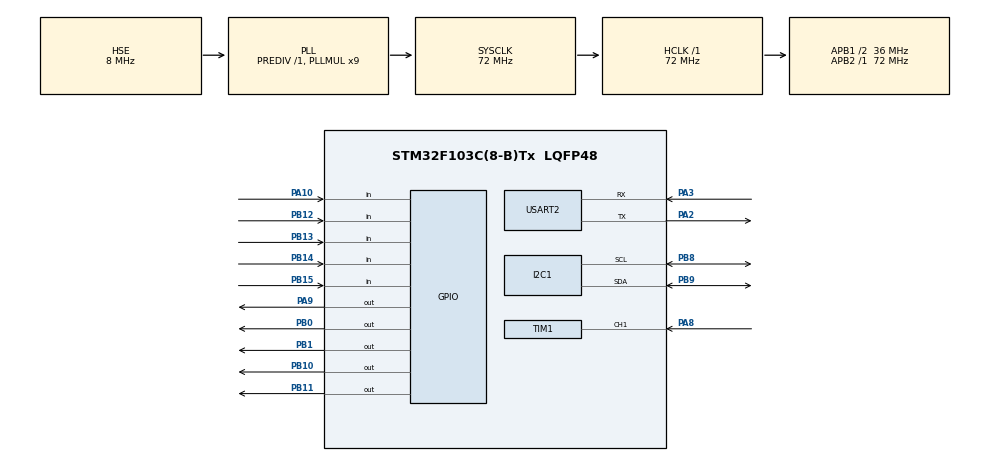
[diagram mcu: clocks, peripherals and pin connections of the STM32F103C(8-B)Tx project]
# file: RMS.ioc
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FREERTOS.INCLUDE_vTaskDelayUntil=1
FREERTOS.INCLUDE_xQueueGetMutexHolder=1
FREERTOS.Tasks01=HCSR04_Sensor,2,128,HCSR04,Default,NULL,Dynamic,NULL,NULL;Sound_Sensor,1,128,Read_SoundSS,Default,NULL,Dynamic,NULL,NULL;Task_Keyboard,-2,128,Keyboard,Default,NULL,Dynamic,NULL,NULL;Task_Display_LC,-1,128,Display_LCD,Default,NULL,Dynamic,NULL,NULL;taskUART,0,128,UART,Default,NULL,Dynamic,NULL,NULL
FREERTOS.configTOTAL_HEAP_SIZE=5500
Mcu.Family=STM32F1
Mcu.Name=STM32F103C(8-B)Tx
Mcu.Package=LQFP48
NVIC.PriorityGroup=NVIC_PRIORITYGROUP_4
NVIC.TIM1_CC_IRQn=true\:0\:0\:false\:false\:true\:false\:true\:true
NVIC.TIM1_UP_IRQn=true\:0\:0\:false\:false\:true\:false\:true\:true
NVIC.TIM4_IRQn=true\:0\:0\:false\:false\:true\:false\:false\:true
NVIC.TimeBase=TIM4_IRQn
NVIC.TimeBaseIP=TIM4
NVIC.USART2_IRQn=true\:1\:0\:true\:false\:true\:false\:true\:true
PA10.GPIO_PuPd=GPIO_PULLUP
PA10.Signal=GPIO_Input
PA13.Mode=Serial_Wire
PA13.Signal=SYS_JTMS-SWDIO
PA14.Mode=Serial_Wire
PA14.Signal=SYS_JTCK-SWCLK
PA2.Mode=Asynchronous
PA2.Signal=USART2_TX
PA3.Mode=Asynchronous
PA3.Signal=USART2_RX
PA8.Signal=S_TIM1_CH1
PA9.Signal=GPIO_Output
PB0.Signal=GPIO_Output
PB1.Signal=GPIO_Output
PB10.Signal=GPIO_Output
PB11.Signal=GPIO_Output
PB12.GPIO_PuPd=GPIO_PULLUP
PB12.Signal=GPIO_Input
PB13.GPIO_PuPd=GPIO_PULLUP
PB13.Signal=GPIO_Input
PB14.GPIO_PuPd=GPIO_PULLUP
PB14.Signal=GPIO_Input
PB15.GPIO_PuPd=GPIO_PULLUP
PB15.Signal=GPIO_Input
PB8.Mode=I2C
PB8.Signal=I2C1_SCL
PB9.Mode=I2C
PB9.Signal=I2C1_SDA
PD0-OSC_IN.Mode=HSE-External-Oscillator
PD0-OSC_IN.Signal=RCC_OSC_IN
PD1-OSC_OUT.Mode=HSE-External-Oscillator
PD1-OSC_OUT.Signal=RCC_OSC_OUT
ProjectManager.HeapSize=0x200
ProjectManager.StackSize=0x400
ProjectManager.TargetToolchain=MDK-ARM V5.27
RCC.AHBFreq_Value=72000000
RCC.APB1CLKDivider=RCC_HCLK_DIV2
RCC.APB1Freq_Value=36000000
RCC.APB1TimFreq_Value=72000000
RCC.APB2Freq_Value=72000000
RCC.APB2TimFreq_Value=72000000
RCC.HCLKFreq_Value=72000000
RCC.PLLMUL=RCC_PLL_MUL9
RCC.PLLSourceVirtual=RCC_PLLSOURCE_HSE
RCC.SYSCLKFreq_VALUE=72000000
RCC.SYSCLKSource=RCC_SYSCLKSOURCE_PLLCLK
RCC.USBFreq_Value=72000000
SH.S_TIM1_CH1.0=TIM1_CH1,Input_Capture1_from_TI1
TIM1.Channel-Input_Capture1_from_TI1=TIM_CHANNEL_1
TIM1.Prescaler=71
USART2.VirtualMode=VM_ASYNC
VP_FREERTOS_VS_CMSIS_V1.Mode=CMSIS_V1
VP_SYS_VS_tim4.Mode=TIM4
VP_TIM1_VS_ClockSourceINT.Mode=Internal
board=custom

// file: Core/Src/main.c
/* USER CODE BEGIN Header */
/**
  ******************************************************************************
  * @file           : main.c
  * @brief          : Main program body
  ******************************************************************************
  * @attention
  *
  * <h2><center>&copy; Copyright (c) 2025 STMicroelectronics.
  * All rights reserved.</center></h2>
  *
  * This software component is licensed by ST under Ultimate Liberty license
  * SLA0044, the "License"; You may not use this file except in compliance with
  * the License. You may obtain a copy of the License at:
  *                             www.st.com/SLA0044
  *
  ******************************************************************************
  */
/* USER CODE END Header */
#include "main.h"
#include "cmsis_os.h"

/* USER CODE BEGIN Includes */
#include "stdio.h"
#include "sr04.h"
#include "FreeRTOS.h"
#include "task.h"
#include "queue.h"
#include "semphr.h"
#include "lcd_i2cModule.h"
#include "keypad_4x4.h"
#include "string.h"
#include "uart.h"

/* USER CODE END Includes */

/* USER CODE BEGIN PD */
#define HCSR04_PERIOD_MS 50
#define SOUNDSS_PERIOD_MS 50
#define KEYBOARD_PERIOD_MS 500
#define LCD_PERIOD_MS 250
#define UART_PERIOD_MS 50

#define HCSR04_DEADLINE_MS 50
#define SOUNDSS_DEADLINE_MS 50
#define KEYBOARD_DEADLINE_MS 500
#define LCD_DEADLINE_MS 250
#define UART_DEADLINE_MS 50

#define HCSR04_EXCUTION_MS 3
#define SOUNDSS_EXCUTION_MS 1
#define KEYBOARD_EXCUTION_MS 50
#define LCD_EXCUTION_MS 15
#define UART_EXCUTION_MS 10

/* USER CODE END PD */

I2C_HandleTypeDef hi2c1;

TIM_HandleTypeDef htim1;

UART_HandleTypeDef huart2;

osThreadId HCSR04_SensorHandle;
osThreadId Sound_SensorHandle;
osThreadId Task_KeyboardHandle;
osThreadId Task_Display_LCHandle;
osThreadId taskUARTHandle;
/* USER CODE BEGIN PV */
sr04_t sr04;

float khoang_cach = 0;

uint8_t sound = 0;
uint8_t check = 0;

uint32_t a = 0;
uint32_t b = 0;
uint32_t c = 0;
uint32_t d = 0;
uint32_t e = 0;

uint32_t HCSR04_Period_ms = 50;
uint32_t SoundSS_Period_ms = 50;
uint32_t Keypad_Period_ms = 500;
uint32_t LCD_Period_ms = 250;
uint32_t UART_Period_ms = 50;

uint8_t UART_Recv[5];

QueueHandle_t QueueHCSR04Handle; // khoi tao mot Queue (tuong tu de khoi tao mot task thi ta co lenh: TaskHandle_t)
QueueHandle_t QueueSoundSSHandle;
QueueHandle_t QueueKeyboardHandle;
QueueHandle_t QueueUARTHandle;
/* USER CODE END PV */

void SystemClock_Config(void);
static void MX_GPIO_Init(void);
static void MX_I2C1_Init(void);
static void MX_TIM1_Init(void);
static void MX_USART2_UART_Init(void);
void HCSR04(void const * argument);
void Read_SoundSS(void const * argument);
void Keyboard(void const * argument);
void Display_LCD(void const * argument);
void UART(void const * argument);

int main(void)
{

  /* MCU Configuration--------------------------------------------------------*/

  /* Reset of all peripherals, Initializes the Flash interface and the Systick. */
  HAL_Init();

  /* Configure the system clock */
  SystemClock_Config();

  /* Initialize all configured peripherals */
  MX_GPIO_Init();
  MX_I2C1_Init();
  MX_TIM1_Init();
  MX_USART2_UART_Init();
  /* USER CODE BEGIN 2 */

	//Init HCSR04
  sr04.trig_port = GPIOA;
  sr04.trig_pin = GPIO_PIN_9;
  sr04.echo_htim = &htim1;
  sr04.echo_channel = TIM_CHANNEL_1;
  sr04_init(&sr04);

	  //Init lcd
		LCD_i2cDeviceCheck();
		LCD_Init();
		LCD_BackLight(LCD_BL_ON);

		// Init Keypad
		keypad_init();

		HAL_UART_Receive_IT(&huart2, UART_Recv, sizeof(UART_Recv) - 1);
  /* USER CODE END 2 */

  /* USER CODE BEGIN RTOS_QUEUES */
  /* add queues, ... */
	QueueHCSR04Handle = xQueueCreate(10, sizeof(uint32_t)*10); // tao mot queue moi
	QueueSoundSSHandle = xQueueCreate(10, sizeof(char) * 10);
	QueueKeyboardHandle = xQueueCreate(10, sizeof(char) * 10);
	QueueUARTHandle = xQueueCreate(10, sizeof(uint32_t) * 10);

  /* USER CODE END RTOS_QUEUES */

  /* Create the thread(s) */
  /* definition and creation of HCSR04_Sensor */
  osThreadDef(HCSR04_Sensor, HCSR04, osPriorityHigh, 0, 128);
  HCSR04_SensorHandle = osThreadCreate(osThread(HCSR04_Sensor), NULL);

  /* definition and creation of Sound_Sensor */
  osThreadDef(Sound_Sensor, Read_SoundSS, osPriorityAboveNormal, 0, 128);
  Sound_SensorHandle = osThreadCreate(osThread(Sound_Sensor), NULL);

  /* definition and creation of Task_Keyboard */
  osThreadDef(Task_Keyboard, Keyboard, osPriorityLow, 0, 128);
  Task_KeyboardHandle = osThreadCreate(osThread(Task_Keyboard), NULL);

  /* definition and creation of Task_Display_LC */
  osThreadDef(Task_Display_LC, Display_LCD, osPriorityBelowNormal, 0, 128);
  Task_Display_LCHandle = osThreadCreate(osThread(Task_Display_LC), NULL);

  /* definition and creation of taskUART */
  osThreadDef(taskUART, UART, osPriorityNormal, 0, 128);
  taskUARTHandle = osThreadCreate(osThread(taskUART), NULL);

  /* Start scheduler */
  osKernelStart();

  /* We should never get here as control is now taken by the scheduler */
  /* Infinite loop */
  while (1)
  {

  }
}

void SystemClock_Config(void)
{
  RCC_OscInitTypeDef RCC_OscInitStruct = {0};
  RCC_ClkInitTypeDef RCC_ClkInitStruct = {0};

  /** Initializes the RCC Oscillators according to the specified parameters
  * in the RCC_OscInitTypeDef structure.
  */
  RCC_OscInitStruct.OscillatorType = RCC_OSCILLATORTYPE_HSE;
  RCC_OscInitStruct.HSEState = RCC_HSE_ON;
  RCC_OscInitStruct.HSEPredivValue = RCC_HSE_PREDIV_DIV1;
  RCC_OscInitStruct.HSIState = RCC_HSI_ON;
  RCC_OscInitStruct.PLL.PLLState = RCC_PLL_ON;
  RCC_OscInitStruct.PLL.PLLSource = RCC_PLLSOURCE_HSE;
  RCC_OscInitStruct.PLL.PLLMUL = RCC_PLL_MUL9;
  if (HAL_RCC_OscConfig(&RCC_OscInitStruct) != HAL_OK)
  {
    Error_Handler();
  }
  /** Initializes the CPU, AHB and APB buses clocks
  */
  RCC_ClkInitStruct.ClockType = RCC_CLOCKTYPE_HCLK|RCC_CLOCKTYPE_SYSCLK
                              |RCC_CLOCKTYPE_PCLK1|RCC_CLOCKTYPE_PCLK2;
  RCC_ClkInitStruct.SYSCLKSource = RCC_SYSCLKSOURCE_PLLCLK;
  RCC_ClkInitStruct.AHBCLKDivider = RCC_SYSCLK_DIV1;
  RCC_ClkInitStruct.APB1CLKDivider = RCC_HCLK_DIV2;
  RCC_ClkInitStruct.APB2CLKDivider = RCC_HCLK_DIV1;

  if (HAL_RCC_ClockConfig(&RCC_ClkInitStruct, FLASH_LATENCY_2) != HAL_OK)
  {
    Error_Handler();
  }
}

static void MX_I2C1_Init(void)
{

  hi2c1.Instance = I2C1;
  hi2c1.Init.ClockSpeed = 100000;
  hi2c1.Init.DutyCycle = I2C_DUTYCYCLE_2;
  hi2c1.Init.OwnAddress1 = 0;
  hi2c1.Init.AddressingMode = I2C_ADDRESSINGMODE_7BIT;
  hi2c1.Init.DualAddressMode = I2C_DUALADDRESS_DISABLE;
  hi2c1.Init.OwnAddress2 = 0;
  hi2c1.Init.GeneralCallMode = I2C_GENERALCALL_DISABLE;
  hi2c1.Init.NoStretchMode = I2C_NOSTRETCH_DISABLE;
  if (HAL_I2C_Init(&hi2c1) != HAL_OK)
  {
    Error_Handler();
  }

}

static void MX_TIM1_Init(void)
{

  TIM_ClockConfigTypeDef sClockSourceConfig = {0};
  TIM_MasterConfigTypeDef sMasterConfig = {0};
  TIM_IC_InitTypeDef sConfigIC = {0};

  htim1.Instance = TIM1;
  htim1.Init.Prescaler = 71;
  htim1.Init.CounterMode = TIM_COUNTERMODE_UP;
  htim1.Init.Period = 65535;
  htim1.Init.ClockDivision = TIM_CLOCKDIVISION_DIV1;
  htim1.Init.RepetitionCounter = 0;
  htim1.Init.AutoReloadPreload = TIM_AUTORELOAD_PRELOAD_DISABLE;
  if (HAL_TIM_Base_Init(&htim1) != HAL_OK)
  {
    Error_Handler();
  }
  sClockSourceConfig.ClockSource = TIM_CLOCKSOURCE_INTERNAL;
  if (HAL_TIM_ConfigClockSource(&htim1, &sClockSourceConfig) != HAL_OK)
  {
    Error_Handler();
  }
  if (HAL_TIM_IC_Init(&htim1) != HAL_OK)
  {
    Error_Handler();
  }
  sMasterConfig.MasterOutputTrigger = TIM_TRGO_RESET;
  sMasterConfig.MasterSlaveMode = TIM_MASTERSLAVEMODE_DISABLE;
  if (HAL_TIMEx_MasterConfigSynchronization(&htim1, &sMasterConfig) != HAL_OK)
  {
    Error_Handler();
  }
  sConfigIC.ICPolarity = TIM_INPUTCHANNELPOLARITY_RISING;
  sConfigIC.ICSelection = TIM_ICSELECTION_DIRECTTI;
  sConfigIC.ICPrescaler = TIM_ICPSC_DIV1;
  sConfigIC.ICFilter = 0;
  if (HAL_TIM_IC_ConfigChannel(&htim1, &sConfigIC, TIM_CHANNEL_1) != HAL_OK)
  {
    Error_Handler();
  }

}

static void MX_USART2_UART_Init(void)
{

  huart2.Instance = USART2;
  huart2.Init.BaudRate = 115200;
  huart2.Init.WordLength = UART_WORDLENGTH_8B;
  huart2.Init.StopBits = UART_STOPBITS_1;
  huart2.Init.Parity = UART_PARITY_NONE;
  huart2.Init.Mode = UART_MODE_TX_RX;
  huart2.Init.HwFlowCtl = UART_HWCONTROL_NONE;
  huart2.Init.OverSampling = UART_OVERSAMPLING_16;
  if (HAL_UART_Init(&huart2) != HAL_OK)
  {
    Error_Handler();
  }

}

static void MX_GPIO_Init(void)
{
  GPIO_InitTypeDef GPIO_InitStruct = {0};

  /* GPIO Ports Clock Enable */
  __HAL_RCC_GPIOD_CLK_ENABLE();
  __HAL_RCC_GPIOA_CLK_ENABLE();
  __HAL_RCC_GPIOB_CLK_ENABLE();

  /*Configure GPIO pin Output Level */
  HAL_GPIO_WritePin(GPIOB, GPIO_PIN_0|GPIO_PIN_1|GPIO_PIN_10|GPIO_PIN_11, GPIO_PIN_RESET);

  /*Configure GPIO pin Output Level */
  HAL_GPIO_WritePin(GPIOA, GPIO_PIN_9, GPIO_PIN_RESET);

  /*Configure GPIO pins : PB0 PB1 PB10 PB11 */
  GPIO_InitStruct.Pin = GPIO_PIN_0|GPIO_PIN_1|GPIO_PIN_10|GPIO_PIN_11;
  GPIO_InitStruct.Mode = GPIO_MODE_OUTPUT_PP;
  GPIO_InitStruct.Pull = GPIO_NOPULL;
  GPIO_InitStruct.Speed = GPIO_SPEED_FREQ_LOW;
  HAL_GPIO_Init(GPIOB, &GPIO_InitStruct);

  /*Configure GPIO pins : PB12 PB13 PB14 PB15 */
  GPIO_InitStruct.Pin = GPIO_PIN_12|GPIO_PIN_13|GPIO_PIN_14|GPIO_PIN_15;
  GPIO_InitStruct.Mode = GPIO_MODE_INPUT;
  GPIO_InitStruct.Pull = GPIO_PULLUP;
  HAL_GPIO_Init(GPIOB, &GPIO_InitStruct);

  /*Configure GPIO pin : PA9 */
  GPIO_InitStruct.Pin = GPIO_PIN_9;
  GPIO_InitStruct.Mode = GPIO_MODE_OUTPUT_PP;
  GPIO_InitStruct.Pull = GPIO_NOPULL;
  GPIO_InitStruct.Speed = GPIO_SPEED_FREQ_LOW;
  HAL_GPIO_Init(GPIOA, &GPIO_InitStruct);

  /*Configure GPIO pin : PA10 */
  GPIO_InitStruct.Pin = GPIO_PIN_10;
  GPIO_InitStruct.Mode = GPIO_MODE_INPUT;
  GPIO_InitStruct.Pull = GPIO_PULLUP;
  HAL_GPIO_Init(GPIOA, &GPIO_InitStruct);

}

void HCSR04(void const * argument)
{
  /* USER CODE BEGIN 5 */
	TickType_t xLastWakeTime = osKernelSysTick();
	char message[50];
  /* Infinite loop */
  for(;;)
  {
		a++;
		sr04_trigger(&sr04);
    khoang_cach = sr04.distance;
		snprintf(message, 50, "Distance: %.1fmm", khoang_cach);

		xQueueSend(QueueHCSR04Handle, &message, 100);
		xQueueSend(QueueUARTHandle, &message, 100);
    osDelayUntil(&xLastWakeTime, pdMS_TO_TICKS(HCSR04_Period_ms));
  }
  /* USER CODE END 5 */
}

void Read_SoundSS(void const * argument)
{
  /* USER CODE BEGIN Read_SoundSS */
	TickType_t xLastWakeTime1 = osKernelSysTick();
	char message[10];
  /* Infinite loop */
  for(;;)
  {
		b++;
		if(HAL_GPIO_ReadPin(GPIOA, GPIO_PIN_10) == 0){
			// co am thanh

			strcpy(message, "YES ");
			xQueueSend(QueueSoundSSHandle, &message, 100);
			xQueueSend(QueueUARTHandle, &message, 100);
		}
		else {
			// khong co am thanh
			strcpy(message, "NO  ");
			xQueueSend(QueueSoundSSHandle, &message, 100);
			xQueueSend(QueueUARTHandle, &message, 100);
		}
    osDelayUntil(&xLastWakeTime1, pdMS_TO_TICKS(SoundSS_Period_ms));

  }
  /* USER CODE END Read_SoundSS */
}

void Keyboard(void const * argument)
{
  /* USER CODE BEGIN Keyboard */
	TickType_t xLastWakeTime2 = osKernelSysTick();
	char key_val;
	char buffer[20];
  /* Infinite loop */
  for(;;)
  {
		c++;
		// Xu ly task doc Keyboard
		key_val = keypad_get_key_value();
		sprintf(buffer, "Ky tu: %c", key_val);

		xQueueSend(QueueKeyboardHandle, &buffer, 100);
		xQueueSend(QueueUARTHandle, &buffer, 100);
    osDelayUntil(&xLastWakeTime2, pdMS_TO_TICKS(Keypad_Period_ms));
  }
  /* USER CODE END Keyboard */
}

void Display_LCD(void const * argument)
{
  /* USER CODE BEGIN Display_LCD */
	TickType_t xLastWakeTime = osKernelSysTick();

  /* Infinite loop */
  for(;;)
  {
		d++;
		char buf[50];
		char buf1[10] = "    ";
		char buf2[10];
		// Xu ly task hien thi LCD
		xQueueReceive(QueueHCSR04Handle, buf, portMAX_DELAY);
		xQueueReceive(QueueSoundSSHandle, buf1, portMAX_DELAY);
		xQueueReceive(QueueKeyboardHandle, buf2, portMAX_DELAY);
		LCD_SetCursor(1, 1);
		LCD_Send_String(buf, STR_NOSLIDE);
		LCD_SetCursor(2, 1);
		LCD_Send_String(buf1, STR_NOSLIDE);
		LCD_SetCursor(2, 7);
		LCD_Send_String(buf2, STR_NOSLIDE);

    osDelayUntil(&xLastWakeTime, pdMS_TO_TICKS(LCD_Period_ms));
  }
  /* USER CODE END Display_LCD */
}

void UART(void const * argument)
{
  /* USER CODE BEGIN UART */
	char uart_buf[100];
	TickType_t xLastWakeTime = osKernelSysTick();
  /* Infinite loop */
  for(;;)
  {
		e++;
		// Xu ly task truyen thong tin len may tinh su dung USB to TTL CP2102
		 if (xQueueReceive(QueueUARTHandle, uart_buf, portMAX_DELAY) == pdPASS)
        {
					strcat(uart_buf, "\n");
            HAL_UART_Transmit(&huart2, (uint8_t *)uart_buf, strlen(uart_buf), HAL_MAX_DELAY);
        }
    osDelayUntil(&xLastWakeTime, pdMS_TO_TICKS(UART_Period_ms));

  }
  /* USER CODE END UART */
}

void HAL_UART_RxCpltCallback(UART_HandleTypeDef *huart)
{
  /* Prevent unused argument(s) compilation warning */
  UNUSED(huart);
  if(huart->Instance == USART1){
	 // rxData[sizeof(rxData) - 1] = '\0';
	if (UART_Recv[0] == '1')
	{
		HCSR04_Period_ms = 50;
		SoundSS_Period_ms = 50;
		Keypad_Period_ms = 500;
		LCD_Period_ms = 250;
		UART_Period_ms = 50;
	}
	else if (UART_Recv[0] == '2')
	{
		HCSR04_Period_ms = 100;
		SoundSS_Period_ms = 100;
		Keypad_Period_ms = 1000;
		LCD_Period_ms = 500;
		UART_Period_ms = 100;
	}
	else
	{
		HCSR04_Period_ms = 150;
		SoundSS_Period_ms = 150;
		Keypad_Period_ms = 1500;
		LCD_Period_ms = 1000;
		UART_Period_ms = 150;
	}
 }

  /* NOTE: This function should not be modified, when the callback is needed,
           the HAL_UART_RxCpltCallback could be implemented in the user file
   */
}

void HAL_TIM_PeriodElapsedCallback(TIM_HandleTypeDef *htim)
{
  if (htim->Instance == TIM4) {
    HAL_IncTick();
  }
}

void Error_Handler(void)
{
}

/************************ (C) COPYRIGHT STMicroelectronics *****END OF FILE****/
